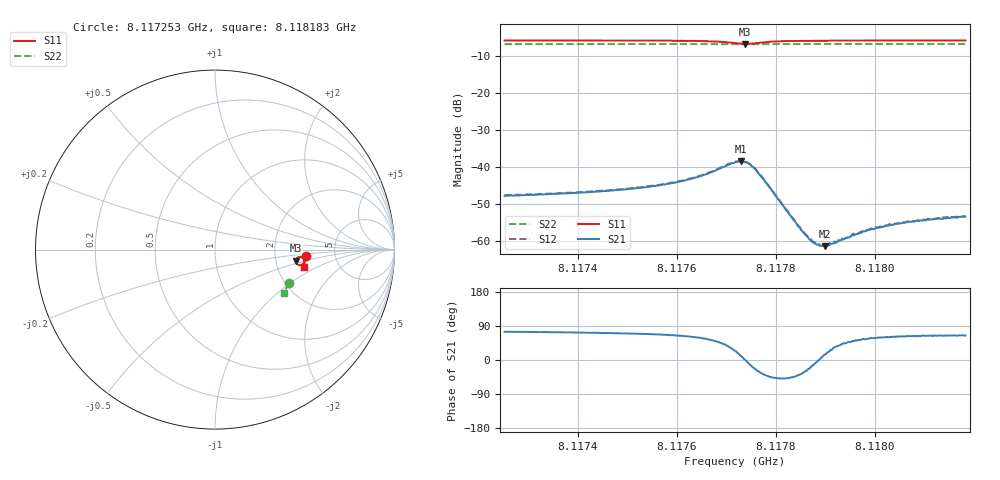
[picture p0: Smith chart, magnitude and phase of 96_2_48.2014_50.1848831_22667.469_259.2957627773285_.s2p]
#  HZ  S  RI  R  50.00
! Rohde & Schwarz Vector Network Analyzer
! Rohde-Schwarz,ZNB20-2Port,1311601062101988,3.16
! Created: UTC 3/20/2024, 11:40:17 AM
! freq[Hz]  re:S11  im:S11  re:S21  im:S21  re:S12  im:S12  re:S22  im:S22
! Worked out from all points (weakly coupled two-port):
!   401 points, 8.117253 GHz to 8.118183 GHz, reference 50 ohm
!   highest |S21| = -38.46 dB at 8.117729 GHz (marker M1); lowest = -61.3 dB at 8.117899 GHz (marker M2)
!   lowest |S11| = -6.9 dB at 8.117739 GHz (marker M3), VSWR 2.66, Z = 130 - j20.1 ohm
!   |S11| at or under -10 dB: nowhere
!   |S22| runs from -6.9 to -6.9 dB; largest |S21 - S12| = 0.00049
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8.1172528e9  0.5043 -0.037  0.0011 0.00396  0.00116 0.00406  0.4111 -0.1861
8.1174085e9  0.5026 -0.0504  0.00139 0.00434  0.00146 0.00437  0.407 -0.1962
8.1175016e9  0.5007 -0.0596  0.00173 0.00476  0.0018 0.00482  0.4044 -0.2021
8.1175643e9  0.4985 -0.0667  0.00217 0.00525  0.00228 0.00531  0.4023 -0.2063
8.1176364e9  0.4926 -0.0776  0.00355 0.00622  0.00367 0.0063  0.4 -0.2112
8.1176666e9  0.4861 -0.083  0.00496 0.00673  0.0051 0.00682  0.3986 -0.2131
8.1177178e9  0.4584 -0.0818  0.0106 0.00468  0.0109 0.00473  0.396 -0.2156
8.1177294e9  0.4513 -0.0722  0.0117 0.00215  0.012 0.00227  0.3954 -0.2159
8.1177387e9  0.45 -0.0616  0.0116 -3.68e-05  0.0118 -0.000204  0.3952 -0.2158
8.1177504e9  0.4549 -0.0495  0.0102 -0.00267  0.0103 -0.00294  0.3953 -0.2162
8.117762e9  0.4647 -0.0423  0.00773 -0.00416  0.00787 -0.00425  0.3953 -0.2167
8.1177783e9  0.4776 -0.0413  0.00494 -0.00411  0.00502 -0.00421  0.3955 -0.2178
8.117848e9  0.4964 -0.0583  0.00121 -0.000987  0.00122 -0.000987  0.394 -0.2228
8.1178736e9  0.4977 -0.0631  0.00094 -0.00026  0.000983 -0.00029  0.3933 -0.2247
8.1178875e9  0.498 -0.0654  0.000885 5.93e-06  0.000917 -5.13e-06  0.3928 -0.2255
8.1178992e9  0.4983 -0.0671  0.000834 0.000224  0.00085 0.000242  0.3926 -0.2263
8.1179178e9  0.4984 -0.0698  0.000803 0.000507  0.000859 0.000498  0.3918 -0.2274
8.1179526e9  0.4985 -0.0742  0.000782 0.000876  0.000808 0.000883  0.3907 -0.2298
8.1179759e9  0.4984 -0.0766  0.000777 0.00114  0.000814 0.00111  0.39 -0.2313
8.1180294e9  0.4978 -0.0822  0.000828 0.00144  0.000862 0.00149  0.3881 -0.2345
8.1180875e9  0.4972 -0.0878  0.000851 0.00169  0.000887 0.00172  0.3862 -0.2383
8.1181828e9  0.4957 -0.0958  0.000926 0.00195  0.000964 0.00197  0.3829 -0.2441
